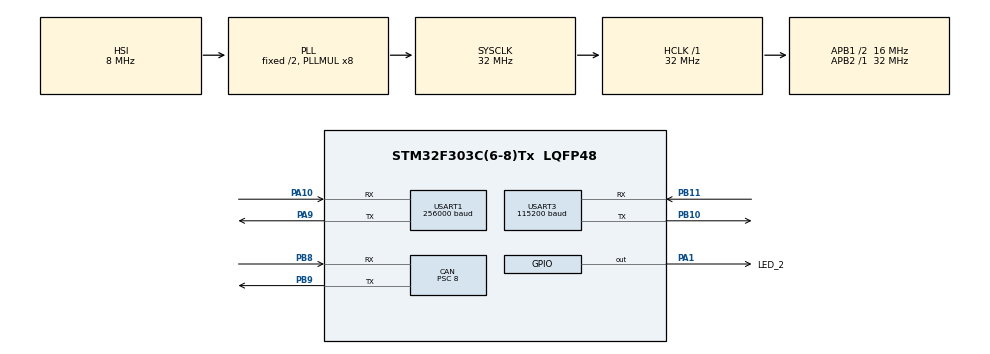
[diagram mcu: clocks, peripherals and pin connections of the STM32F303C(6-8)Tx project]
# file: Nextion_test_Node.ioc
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CAN.BS1=CAN_BS1_2TQ
CAN.CalculateBaudRate=500000
CAN.CalculateTimeBit=2000
CAN.CalculateTimeQuantum=500.0
CAN.Prescaler=8
Dma.Request0=USART1_RX
Dma.Request1=USART3_RX
Dma.USART1_RX.0.Direction=DMA_PERIPH_TO_MEMORY
Dma.USART1_RX.0.Instance=DMA1_Channel5
Dma.USART1_RX.0.MemDataAlignment=DMA_MDATAALIGN_BYTE
Dma.USART1_RX.0.MemInc=DMA_MINC_ENABLE
Dma.USART1_RX.0.Mode=DMA_NORMAL
Dma.USART1_RX.0.PeriphDataAlignment=DMA_PDATAALIGN_BYTE
Dma.USART1_RX.0.PeriphInc=DMA_PINC_DISABLE
Dma.USART1_RX.0.Priority=DMA_PRIORITY_LOW
Dma.USART3_RX.1.Direction=DMA_PERIPH_TO_MEMORY
Dma.USART3_RX.1.Instance=DMA1_Channel3
Dma.USART3_RX.1.MemDataAlignment=DMA_MDATAALIGN_BYTE
Dma.USART3_RX.1.MemInc=DMA_MINC_ENABLE
Dma.USART3_RX.1.Mode=DMA_NORMAL
Dma.USART3_RX.1.PeriphDataAlignment=DMA_PDATAALIGN_BYTE
Dma.USART3_RX.1.PeriphInc=DMA_PINC_DISABLE
Dma.USART3_RX.1.Priority=DMA_PRIORITY_LOW
Mcu.Family=STM32F3
Mcu.Name=STM32F303C(6-8)Tx
Mcu.Package=LQFP48
NVIC.CAN_RX0_IRQn=true\:0\:0\:false\:false\:true\:true\:true\:true
NVIC.CAN_RX1_IRQn=true\:0\:0\:false\:false\:true\:true\:true\:true
NVIC.DMA1_Channel3_IRQn=true\:0\:0\:false\:false\:true\:false\:true\:true
NVIC.DMA1_Channel5_IRQn=true\:0\:0\:false\:false\:true\:false\:true\:true
NVIC.PriorityGroup=NVIC_PRIORITYGROUP_4
PA1.GPIO_Label=LED_2
PA1.Signal=GPIO_Output
PA10.Mode=Asynchronous
PA10.Signal=USART1_RX
PA9.Mode=Asynchronous
PA9.Signal=USART1_TX
PB10.Mode=Asynchronous
PB10.Signal=USART3_TX
PB11.Mode=Asynchronous
PB11.Signal=USART3_RX
PB8.Mode=CAN_Activate
PB8.Signal=CAN_RX
PB9.Mode=CAN_Activate
PB9.Signal=CAN_TX
ProjectManager.HeapSize=0x200
ProjectManager.StackSize=0x400
ProjectManager.TargetToolchain=STM32CubeIDE
RCC.AHBFreq_Value=32000000
RCC.APB1CLKDivider=RCC_HCLK_DIV2
RCC.APB1Freq_Value=16000000
RCC.APB1TimFreq_Value=32000000
RCC.APB2Freq_Value=32000000
RCC.APB2TimFreq_Value=32000000
RCC.CortexFreq_Value=32000000
RCC.HCLKFreq_Value=32000000
RCC.HSE_VALUE=8000000
RCC.HSI_VALUE=8000000
RCC.LSE_VALUE=32768
RCC.PLLMUL=RCC_PLL_MUL8
RCC.SYSCLKFreq_VALUE=32000000
RCC.SYSCLKSourceVirtual=RCC_SYSCLKSOURCE_PLLCLK
USART1.BaudRate=256000
USART1.VirtualMode-Asynchronous=VM_ASYNC
USART3.BaudRate=115200
USART3.VirtualMode-Asynchronous=VM_ASYNC
board=custom

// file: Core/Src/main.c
/* USER CODE BEGIN Header */
/**
 ******************************************************************************
 * @file           : main.c
 * @brief          : Main program body
 ******************************************************************************
 * @attention
 *
 * Copyright (c) 2023 STMicroelectronics.
 * All rights reserved.
 *
 * This software is licensed under terms that can be found in the LICENSE file
 * in the root directory of this software component.
 * If no LICENSE file comes with this software, it is provided AS-IS.
 *
 ******************************************************************************
 */
/* USER CODE END Header */
#include "main.h"

/* USER CODE BEGIN Includes */
#include <stdio.h>
#include <string.h>
/* USER CODE END Includes */

/* USER CODE BEGIN PTD */
CAN_TxHeaderTypeDef TxHeader;
CAN_RxHeaderTypeDef RxHeader;
/* USER CODE END PTD */

/* USER CODE BEGIN PD */
#define UART_TIMEOUT 1000
#define NT_MSG_END_LENGTH 3
#define DATA_LENGTH 8
#define UART_TEMP_LENGTH 4
#define UART_MAIN_LENGTH 20
#define BCO_RED 63488
#define BCO_GRAY 50712
#define Throttle_Id 0x003
/* USER CODE END PD */

CAN_HandleTypeDef hcan;

UART_HandleTypeDef huart1;
UART_HandleTypeDef huart3;
DMA_HandleTypeDef hdma_usart1_rx;
DMA_HandleTypeDef hdma_usart3_rx;

/* USER CODE BEGIN PV */
const uint8_t NextionMSG_END[NT_MSG_END_LENGTH] = {0xff,0xff,0xff};
volatile uint8_t rxComplete = 0;
uint8_t TxData[DATA_LENGTH];
uint8_t RxData[DATA_LENGTH];
uint8_t tempUART_Rx[UART_TEMP_LENGTH];
uint8_t mainUART_Rx[UART_MAIN_LENGTH];
uint16_t oldPos = 0, newPos = 0;
const uint32_t DriveSelectID = 0x195;
uint32_t TxMailbox = 0;
const double Pi = 3.14159;

const char dpObj_SpeedGauge[] = "VG";
const char dpObj_SpeedMeter[] = "VM";
const char dpObj_Cruise[] = "sw0";
const char dpObj_FrontAng[] = "FrAng";
const char dpObj_RearAng[] = "RAng";
const char dpObj_Park[] = "b2";
const char dpObj_Reverse[] = "b3";
const char dpObj_Neutral[] = "b4";
const char dpObj_Drive[] = "b5";
const char dpObj_ThrottleL[] = "j0";
const char dpObj_ThrottleR[] = "j1";
const char dpObj_ThrottleErr[] = "Err";

/* USER CODE END PV */

void SystemClock_Config(void);
static void MX_GPIO_Init(void);
static void MX_DMA_Init(void);
static void MX_CAN_Init(void);
static void MX_USART3_UART_Init(void);
static void MX_USART1_UART_Init(void);

/* USER CODE BEGIN 0 */
void NEXTION_ChangeVal(const char *objName, uint32_t value){
	char buf[30];
	unsigned int len = sprintf(buf, "%s.val=%u", objName, value);
	HAL_UART_Transmit(&huart3, buf, len,UART_TIMEOUT);
	HAL_UART_Transmit(&huart3, NextionMSG_END, NT_MSG_END_LENGTH,UART_TIMEOUT);
}

void NEXTION_Changefloat(const char *objName, float value){
	char buf[20];
	unsigned int len = sprintf(buf, "%s.val=%d", objName, (int)value);
	HAL_UART_Transmit(&huart3, buf, len,UART_TIMEOUT);
	HAL_UART_Transmit(&huart3, NextionMSG_END, NT_MSG_END_LENGTH,UART_TIMEOUT);
}

void NEXTION_UpdateDriveSelectButton(const char *objName, uint32_t value){
	char buf[20];
	unsigned int len = sprintf(buf, "%s.bco=%u", objName, (uint32_t)value);
	HAL_UART_Transmit(&huart3, buf, len,UART_TIMEOUT);
	HAL_UART_Transmit(&huart3, NextionMSG_END, NT_MSG_END_LENGTH,UART_TIMEOUT);
}

void NEXTION_SendErrorMessage(char *objName, char *string){
	char buffer[50];
	int len = sprintf(buffer, "%s.txt=\"%s\"", objName, string);
	HAL_UART_Transmit(&huart3, buffer, len,UART_TIMEOUT);
	HAL_UART_Transmit(&huart3, NextionMSG_END, NT_MSG_END_LENGTH,UART_TIMEOUT);
}

void HAL_CAN_RxFifo0MsgPendingCallback(CAN_HandleTypeDef *hcan){
	//HAL_GPIO_TogglePin(LED_2_GPIO_Port,LED_2_Pin);

	HAL_CAN_GetRxMessage(hcan, CAN_RX_FIFO0, &RxHeader, RxData);
	if(RxHeader.StdId == 0x00 && RxHeader.IDE == CAN_ID_STD) {
		//HAL_GPIO_TogglePin(LED_2_GPIO_Port,LED_2_Pin);
		int temp = RxData[0] << 8 | RxData[1];
		if(temp >= 16383) {
			temp-= 65536;
		}
		float value = (float)temp * 0.1274;
		NEXTION_Changefloat(dpObj_FrontAng, value);
	}

	else if(RxHeader.StdId == 0x180 && RxHeader.IDE == CAN_ID_STD) {
		//HAL_GPIO_TogglePin(LED_2_GPIO_Port,LED_2_Pin);
		int temp = RxData[1] << 8 | RxData[0];
		if(temp >= 16383){
			temp -=65536;
		}
		float value = temp * 0.0637;
		value += 200;
		NEXTION_Changefloat(dpObj_RearAng, value);

	}
	else if(RxHeader.StdId == DriveSelectID && RxHeader.IDE == CAN_ID_STD)
	{
		//Park
		if(RxData[0] == 8)
		{
			NEXTION_UpdateDriveSelectButton(dpObj_Park,BCO_RED);
			NEXTION_UpdateDriveSelectButton(dpObj_Reverse,BCO_GRAY);
			NEXTION_UpdateDriveSelectButton(dpObj_Neutral,BCO_GRAY);
			NEXTION_UpdateDriveSelectButton(dpObj_Drive,BCO_GRAY);
		}

		//Reverse
		else if(RxData[0] == 4)
		{
			NEXTION_UpdateDriveSelectButton(dpObj_Park,BCO_GRAY);
			NEXTION_UpdateDriveSelectButton(dpObj_Reverse,BCO_RED);
			NEXTION_UpdateDriveSelectButton(dpObj_Neutral,BCO_GRAY);
			NEXTION_UpdateDriveSelectButton(dpObj_Drive,BCO_GRAY);
		}

		//Neutral
		else if(RxData[0] == 2)
		{
			NEXTION_UpdateDriveSelectButton(dpObj_Park,BCO_GRAY);
			NEXTION_UpdateDriveSelectButton(dpObj_Reverse,BCO_GRAY);
			NEXTION_UpdateDriveSelectButton(dpObj_Neutral,BCO_RED);
			NEXTION_UpdateDriveSelectButton(dpObj_Drive,BCO_GRAY);
		}

		//Drive
		else if(RxData[0] == 1)
		{
			NEXTION_UpdateDriveSelectButton(dpObj_Park,BCO_GRAY);
			NEXTION_UpdateDriveSelectButton(dpObj_Reverse,BCO_GRAY);
			NEXTION_UpdateDriveSelectButton(dpObj_Neutral,BCO_GRAY);
			NEXTION_UpdateDriveSelectButton(dpObj_Drive,BCO_RED);
		}
	}
	else if(RxHeader.StdId == 0x01 && RxHeader.IDE == CAN_ID_STD)
	{
		uint16_t WheelSpeedRight = RxData[0] << 8 | RxData[1];
		uint16_t WheelSpeedLeft = RxData[2] << 8 | RxData[3];

		WheelSpeedRight *= 2 * Pi / 3;
		WheelSpeedLeft *= 2 * Pi / 3;

		uint32_t Velocity = (WheelSpeedRight + WheelSpeedLeft) / 2 * 3.6;

		int GaugeVal = Velocity * 3;
		if(GaugeVal > 270)
			GaugeVal = 270;
		NEXTION_ChangeVal(dpObj_SpeedMeter, Velocity);
		NEXTION_ChangeVal(dpObj_SpeedGauge, GaugeVal);
	}
	else if(RxHeader.StdId == Throttle_Id && RxHeader.IDE == CAN_ID_STD)
	{
		uint16_t WheelThrottleLeft = RxData[0] << 8 | RxData[1];
		uint16_t WheelThrottleRight = RxData[2] << 8 | RxData[3];

		WheelThrottleRight = WheelThrottleRight / 10.2375;
		WheelThrottleLeft = WheelThrottleLeft / 10.2375;

		if ((WheelThrottleRight < 9) || (WheelThrottleLeft < 9))
		{
			NEXTION_SendErrorMessage(dpObj_ThrottleErr, "Throttle Open Loop!");
			int ErrFlag = 1;
		}
		else if ((WheelThrottleRight > 98) || (WheelThrottleLeft > 98))
		{
			NEXTION_SendErrorMessage(dpObj_ThrottleErr, "Throttle Short to 3.3V!");
			ErrFlag = 1;
		}
		else
		{
			if(ErrFlag == 0)
			{
				NEXTION_SendErrorMessage(dpObj_ThrottleErr, "");
			}
			uint16_t MappedWheelThrottleLeft = ((WheelThrottleLeft - 11) * (100 - 0)) / (97 - 11) + 0;
			uint16_t MappedWheelThrottleRight = ((WheelThrottleRight - 11) * (100 - 0)) / (97 - 11) + 0;
			NEXTION_ChangeVal(dpObj_ThrottleL, MappedWheelThrottleLeft);
			NEXTION_ChangeVal(dpObj_ThrottleR, MappedWheelThrottleRight);

		}
	}

}

void HAL_UARTEx_RxEventCallback(UART_HandleTypeDef *huart,uint16_t size){

	/* start the DMA again */
	if(huart == &huart3)
	{

		HAL_UARTEx_ReceiveToIdle_DMA(&huart3,tempUART_Rx,UART_TEMP_LENGTH);
		__HAL_DMA_DISABLE_IT(&hdma_usart3_rx, DMA_IT_HT);

		for(int i = 0; i < size; i++)
		{
			if(tempUART_Rx[i] == 'P')
			{
				//HAL_GPIO_TogglePin(LED_2_GPIO_Port,LED_2_Pin);
				TxHeader.DLC = 8;
				TxHeader.StdId = DriveSelectID;
				TxHeader.RTR = CAN_RTR_DATA;
				TxData[0] = 8;
				HAL_CAN_AddTxMessage(&hcan,&TxHeader,TxData,&TxMailbox);
			}

			if(tempUART_Rx[i] == 'R')
			{
				TxHeader.DLC = 8;
				TxHeader.StdId = DriveSelectID;
				TxHeader.RTR = CAN_RTR_DATA;
				TxData[0] = 4;
				HAL_CAN_AddTxMessage(&hcan,&TxHeader,TxData,&TxMailbox);
			}

			if(tempUART_Rx[i] == 'N')
			{
				TxHeader.DLC = 8;
				TxHeader.StdId = DriveSelectID;
				TxHeader.RTR = CAN_RTR_DATA;
				TxData[0] = 2;
				HAL_CAN_AddTxMessage(&hcan,&TxHeader,TxData,&TxMailbox);
			}

			if(tempUART_Rx[i] == 'D')
			{
				TxHeader.DLC = 8;
				TxHeader.StdId = DriveSelectID;
				TxHeader.RTR = CAN_RTR_DATA;
				TxData[0] = 1;
				HAL_CAN_AddTxMessage(&hcan,&TxHeader,TxData,&TxMailbox);
			}
		}
	}

	else if(huart == &huart1)
	{
		HAL_UARTEx_ReceiveToIdle_DMA(&huart1,mainUART_Rx,UART_MAIN_LENGTH);
		__HAL_DMA_DISABLE_IT(&hdma_usart1_rx, DMA_IT_HT);
		HAL_UART_Transmit(&huart3, mainUART_Rx, UART_MAIN_LENGTH,UART_TIMEOUT);
		HAL_UART_Transmit(&huart3, NextionMSG_END, NT_MSG_END_LENGTH,UART_TIMEOUT);

	}
}

/* USER CODE END 0 */

int main(void)
{

	/* MCU Configuration--------------------------------------------------------*/

	/* Reset of all peripherals, Initializes the Flash interface and the Systick. */
	HAL_Init();

	/* Configure the system clock */
	SystemClock_Config();

	/* Initialize all configured peripherals */
	MX_GPIO_Init();
	MX_DMA_Init();
	MX_CAN_Init();
	MX_USART3_UART_Init();
	MX_USART1_UART_Init();
	/* USER CODE BEGIN 2 */
	HAL_CAN_Start(&hcan);
	HAL_CAN_ActivateNotification(&hcan, CAN_IT_RX_FIFO0_MSG_PENDING);
	HAL_UARTEx_ReceiveToIdle_DMA(&huart3,tempUART_Rx,UART_TEMP_LENGTH);
	HAL_UARTEx_ReceiveToIdle_DMA(&huart1,mainUART_Rx,UART_MAIN_LENGTH);

	__HAL_DMA_DISABLE_IT(&hdma_usart3_rx, DMA_IT_HT);
	__HAL_DMA_DISABLE_IT(&hdma_usart1_rx, DMA_IT_HT);

	TxHeader.DLC = 8;
	TxHeader.StdId = DriveSelectID;
	TxHeader.RTR = CAN_RTR_DATA;
	TxData[0] = 8;
	HAL_CAN_AddTxMessage(&hcan,&TxHeader,TxData,&TxMailbox);
	/* USER CODE END 2 */

	/* Infinite loop */
	/* USER CODE BEGIN WHILE */
	while (1)
	{

		//	  TxHeader.DLC = 8;
		//	  TxHeader.IDE = CAN_ID_EXT;
		//	  TxHeader.ExtId = 0x19B50100;
		//	  TxHeader.RTR = CAN_RTR_DATA;
		//	  TxData[0] = 80;
		//	  TxData[1] = 81;
		//	  TxData[2] = 82;
		//	  TxData[3] = 83;
		//	  TxData[4] = 84;
		//	  TxData[5] = 85;
		//	  TxData[6] = 86;
		//	  HAL_CAN_AddTxMessage(&hcan,&TxHeader,TxData,&TxMailbox);
		//	  HAL_Delay(200);
		/* USER CODE END WHILE */

	}
}

void SystemClock_Config(void)
{
	RCC_OscInitTypeDef RCC_OscInitStruct = {0};
	RCC_ClkInitTypeDef RCC_ClkInitStruct = {0};
	RCC_PeriphCLKInitTypeDef PeriphClkInit = {0};

	/** Initializes the RCC Oscillators according to the specified parameters
	 * in the RCC_OscInitTypeDef structure.
	 */
	RCC_OscInitStruct.OscillatorType = RCC_OSCILLATORTYPE_HSI;
	RCC_OscInitStruct.HSIState = RCC_HSI_ON;
	RCC_OscInitStruct.HSICalibrationValue = RCC_HSICALIBRATION_DEFAULT;
	RCC_OscInitStruct.PLL.PLLState = RCC_PLL_ON;
	RCC_OscInitStruct.PLL.PLLSource = RCC_PLLSOURCE_HSI;
	RCC_OscInitStruct.PLL.PLLMUL = RCC_PLL_MUL8;
	if (HAL_RCC_OscConfig(&RCC_OscInitStruct) != HAL_OK)
	{
		Error_Handler();
	}

	/** Initializes the CPU, AHB and APB buses clocks
	 */
	RCC_ClkInitStruct.ClockType = RCC_CLOCKTYPE_HCLK|RCC_CLOCKTYPE_SYSCLK
			|RCC_CLOCKTYPE_PCLK1|RCC_CLOCKTYPE_PCLK2;
	RCC_ClkInitStruct.SYSCLKSource = RCC_SYSCLKSOURCE_PLLCLK;
	RCC_ClkInitStruct.AHBCLKDivider = RCC_SYSCLK_DIV1;
	RCC_ClkInitStruct.APB1CLKDivider = RCC_HCLK_DIV2;
	RCC_ClkInitStruct.APB2CLKDivider = RCC_HCLK_DIV1;

	if (HAL_RCC_ClockConfig(&RCC_ClkInitStruct, FLASH_LATENCY_1) != HAL_OK)
	{
		Error_Handler();
	}
	PeriphClkInit.PeriphClockSelection = RCC_PERIPHCLK_USART1;
	PeriphClkInit.Usart1ClockSelection = RCC_USART1CLKSOURCE_PCLK1;
	if (HAL_RCCEx_PeriphCLKConfig(&PeriphClkInit) != HAL_OK)
	{
		Error_Handler();
	}
}

static void MX_CAN_Init(void)
{

	hcan.Instance = CAN;
	hcan.Init.Prescaler = 8;
	hcan.Init.Mode = CAN_MODE_NORMAL;
	hcan.Init.SyncJumpWidth = CAN_SJW_1TQ;
	hcan.Init.TimeSeg1 = CAN_BS1_2TQ;
	hcan.Init.TimeSeg2 = CAN_BS2_1TQ;
	hcan.Init.TimeTriggeredMode = DISABLE;
	hcan.Init.AutoBusOff = DISABLE;
	hcan.Init.AutoWakeUp = DISABLE;
	hcan.Init.AutoRetransmission = DISABLE;
	hcan.Init.ReceiveFifoLocked = DISABLE;
	hcan.Init.TransmitFifoPriority = DISABLE;
	if (HAL_CAN_Init(&hcan) != HAL_OK)
	{
		Error_Handler();
	}
	/* USER CODE BEGIN CAN_Init 2 */
	CAN_FilterTypeDef canfilterconfig;

	canfilterconfig.FilterActivation = CAN_FILTER_ENABLE;
	canfilterconfig.FilterBank = 10;  // anything between 0 to SlaveStartFilterBank
	canfilterconfig.FilterFIFOAssignment = CAN_RX_FIFO0;
	canfilterconfig.FilterIdHigh = 0x0000;
	canfilterconfig.FilterIdLow = 0x0000;
	canfilterconfig.FilterMaskIdHigh = 0x0000;
	canfilterconfig.FilterMaskIdLow = 0x0000;
	canfilterconfig.FilterMode = CAN_FILTERMODE_IDMASK;
	canfilterconfig.FilterScale = CAN_FILTERSCALE_32BIT;
	// canfilterconfig.SlaveStartFilterBank = 13;  // 13 to 27 are assigned to slave CAN (CAN 2) OR 0 to 12 are assgned to CAN1

	HAL_CAN_ConfigFilter(&hcan, &canfilterconfig);
	/* USER CODE END CAN_Init 2 */

}

static void MX_USART1_UART_Init(void)
{

	huart1.Instance = USART1;
	huart1.Init.BaudRate = 256000;
	huart1.Init.WordLength = UART_WORDLENGTH_8B;
	huart1.Init.StopBits = UART_STOPBITS_1;
	huart1.Init.Parity = UART_PARITY_NONE;
	huart1.Init.Mode = UART_MODE_TX_RX;
	huart1.Init.HwFlowCtl = UART_HWCONTROL_NONE;
	huart1.Init.OverSampling = UART_OVERSAMPLING_16;
	huart1.Init.OneBitSampling = UART_ONE_BIT_SAMPLE_DISABLE;
	huart1.AdvancedInit.AdvFeatureInit = UART_ADVFEATURE_NO_INIT;
	if (HAL_UART_Init(&huart1) != HAL_OK)
	{
		Error_Handler();
	}

}

static void MX_USART3_UART_Init(void)
{

	huart3.Instance = USART3;
	huart3.Init.BaudRate = 115200;
	huart3.Init.WordLength = UART_WORDLENGTH_8B;
	huart3.Init.StopBits = UART_STOPBITS_1;
	huart3.Init.Parity = UART_PARITY_NONE;
	huart3.Init.Mode = UART_MODE_TX_RX;
	huart3.Init.HwFlowCtl = UART_HWCONTROL_NONE;
	huart3.Init.OverSampling = UART_OVERSAMPLING_16;
	huart3.Init.OneBitSampling = UART_ONE_BIT_SAMPLE_DISABLE;
	huart3.AdvancedInit.AdvFeatureInit = UART_ADVFEATURE_NO_INIT;
	if (HAL_UART_Init(&huart3) != HAL_OK)
	{
		Error_Handler();
	}

}

static void MX_DMA_Init(void)
{

	/* DMA controller clock enable */
	__HAL_RCC_DMA1_CLK_ENABLE();

	/* DMA interrupt init */
	/* DMA1_Channel3_IRQn interrupt configuration */
	HAL_NVIC_SetPriority(DMA1_Channel3_IRQn, 0, 0);
	HAL_NVIC_EnableIRQ(DMA1_Channel3_IRQn);
	/* DMA1_Channel5_IRQn interrupt configuration */
	HAL_NVIC_SetPriority(DMA1_Channel5_IRQn, 0, 0);
	HAL_NVIC_EnableIRQ(DMA1_Channel5_IRQn);

}

static void MX_GPIO_Init(void)
{
	GPIO_InitTypeDef GPIO_InitStruct = {0};

	/* GPIO Ports Clock Enable */
	__HAL_RCC_GPIOA_CLK_ENABLE();
	__HAL_RCC_GPIOB_CLK_ENABLE();

	/*Configure GPIO pin Output Level */
	HAL_GPIO_WritePin(LED_2_GPIO_Port, LED_2_Pin, GPIO_PIN_RESET);

	/*Configure GPIO pin : LED_2_Pin */
	GPIO_InitStruct.Pin = LED_2_Pin;
	GPIO_InitStruct.Mode = GPIO_MODE_OUTPUT_PP;
	GPIO_InitStruct.Pull = GPIO_NOPULL;
	GPIO_InitStruct.Speed = GPIO_SPEED_FREQ_LOW;
	HAL_GPIO_Init(LED_2_GPIO_Port, &GPIO_InitStruct);

}

void Error_Handler(void)
{
	__disable_irq();
	while (1)
	{
	}
}
